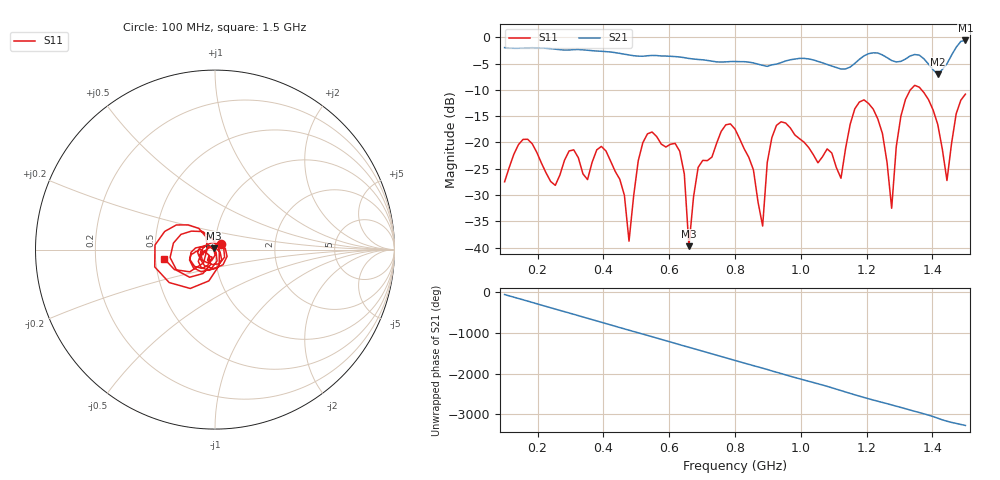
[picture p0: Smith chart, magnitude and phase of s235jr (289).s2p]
! NanoVNA-App
! Date: 2025-09-25 15:06:25
! Start: 100MHz Stop: 1,5GHz Points: 101
! S-Parameter data: F S11 S21 S12 S22
# Hz S RI R 50
!  Frequency  S11_Real  S11_Imag  S21_Real  S21_Imag  S12_Real  S12_Imag  S22_Real  S22_Imag
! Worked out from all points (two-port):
!   101 points, 100 MHz to 1.5 GHz, reference 50 ohm
!   highest |S21| = -0.60 dB at 1.5 GHz (marker M1); lowest = -7.1 dB at 1.416 GHz (marker M2)
!   |S21| within 3 dB of the highest: start of sweep to 519.7 MHz; 520.1 MHz to 599.5 MHz (79.42 MHz wide, 14.2 % of centre) (the widest 2 of 5)
!   lowest |S11| = -39.7 dB at 660 MHz (marker M3), VSWR 1.02, Z = 49.2 + j0.62 ohm
!   |S11| at or under -10 dB: start of sweep to 1.333 GHz; 1.367 GHz to end of sweep
!   S12 and S22 are empty: the file has one direction only
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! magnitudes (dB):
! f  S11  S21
! 100 MHz  -27.5  -2.0
! 156 MHz  -19.4  -2.0
! 338 MHz  -26.0  -2.4
! 408 MHz  -21.6  -2.7
! 478 MHz  -38.8  -3.4
! 520 MHz  -20.0  -3.6
! 576 MHz  -20.3  -3.6
! 632 MHz  -21.7  -3.7
! 660 MHz  -39.7  -4.0
! 688 MHz  -24.7  -4.2
! 800 MHz  -17.4  -4.6
! 884 MHz  -35.9  -5.3
! 926 MHz  -16.7  -5.1
! 1.038 GHz  -22.3  -4.3
! 1.122 GHz  -26.8  -6.0
! 1.192 GHz  -11.9  -3.5
! 1.248 GHz  -18.3  -3.4
! 1.276 GHz  -32.5  -4.4
! 1.332 GHz  -10.1  -3.6
! 1.416 GHz  -16.6  -7.1
! 1.444 GHz  -27.2  -5.0
! 1.5 GHz  -10.8  -0.6
